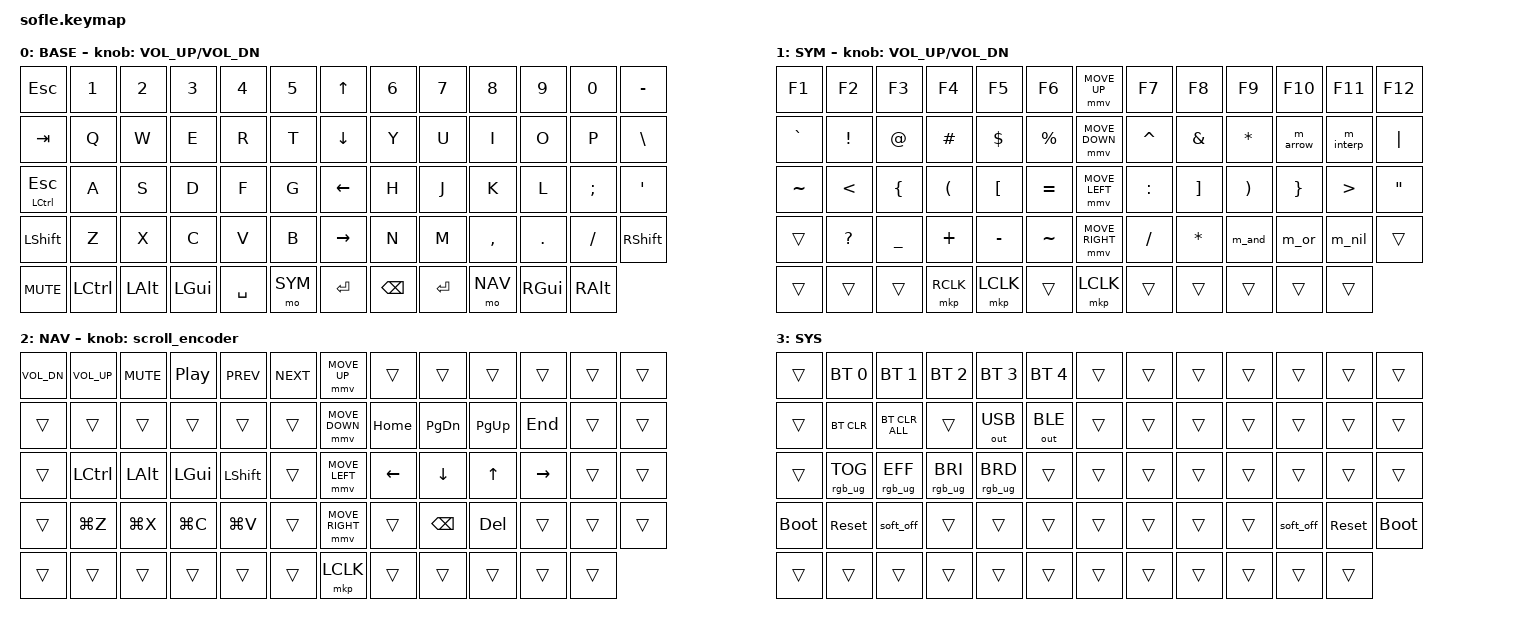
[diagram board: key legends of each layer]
#include <behaviors/mouse_keys.dtsi>
#include <dt-bindings/zmk/mouse.h>
#include <behaviors.dtsi>
#include <dt-bindings/zmk/bt.h>
#include <dt-bindings/zmk/keys.h>
#include <dt-bindings/zmk/outputs.h>
#include <dt-bindings/zmk/rgb.h>

// Layers
#define BASE 0
#define SYM  1
#define NAV  2
#define SYS  3

/ {
    behaviors {
        mmv {
            acceleration-exponent = <1>;
            time-to-max-speed-ms = <900>;
            delay-ms = <0>;
        };

        msc {
            acceleration-exponent = <1>;
            time-to-max-speed-ms = <400>;
            delay-ms = <0>;
        };

        // Tap = Esc, hold = Ctrl. "balanced" so a fast Esc-then-j roll in Vim
        // stays Esc + j instead of turning into Ctrl-j.
        ctl_esc: ctl_esc {
            compatible = "zmk,behavior-hold-tap";
            #binding-cells = <2>;
            flavor = "balanced";
            tapping-term-ms = <200>;
            quick-tap-ms = <150>;
            bindings = <&kp>, <&kp>;
        };
    };

    macros {
        m_arrow: m_arrow {           // ->
            compatible = "zmk,behavior-macro";
            #binding-cells = <0>;
            bindings = <&kp MINUS &kp GT>;
        };
        m_interp: m_interp {         // \(  Swift string interpolation
            compatible = "zmk,behavior-macro";
            #binding-cells = <0>;
            bindings = <&kp BSLH &kp LPAR>;
        };
        m_and: m_and {               // &&
            compatible = "zmk,behavior-macro";
            #binding-cells = <0>;
            bindings = <&kp AMPS &kp AMPS>;
        };
        m_or: m_or {                 // ||
            compatible = "zmk,behavior-macro";
            #binding-cells = <0>;
            bindings = <&kp PIPE &kp PIPE>;
        };
        m_nil: m_nil {               // ??
            compatible = "zmk,behavior-macro";
            #binding-cells = <0>;
            bindings = <&kp QMARK &kp QMARK>;
        };
    };

    scroll_encoder: scroll_encoder {
        compatible = "zmk,behavior-sensor-rotate";
        #sensor-binding-cells = <0>;
        bindings = <&msc SCRL_DOWN>, <&msc SCRL_UP>;
        tap-ms = <30>;
    };

    // Hold SYM + NAV together for the SYS layer
    conditional_layers {
        compatible = "zmk,conditional-layers";
        tri_layer {
            if-layers = <SYM NAV>;
            then-layer = <SYS>;
        };
    };

    // Each row: 6 left keys | joystick | 6 right keys.
    // Bottom row: knob press, 3 left keys, 2 left thumbs | joystick press | 2 right thumbs, 3 right keys.
    keymap {
        compatible = "zmk,keymap";

        base_layer {
            display-name = "BASE";
            bindings = <
&kp ESC              &kp N1    &kp N2    &kp N3    &kp N4     &kp N5     &kp UP      &kp N6     &kp N7     &kp N8     &kp N9    &kp N0    &kp MINUS
&kp TAB              &kp Q     &kp W     &kp E     &kp R      &kp T      &kp DOWN    &kp Y      &kp U      &kp I      &kp O     &kp P     &kp BSLH
&ctl_esc LCTRL ESC   &kp A     &kp S     &kp D     &kp F      &kp G      &kp LEFT    &kp H      &kp J      &kp K      &kp L     &kp SEMI  &kp APOS
&kp LSHFT            &kp Z     &kp X     &kp C     &kp V      &kp B      &kp RIGHT   &kp N      &kp M      &kp COMMA  &kp DOT   &kp FSLH  &kp RSHFT
&kp C_MUTE           &kp LCTRL &kp LALT  &kp LGUI  &kp SPACE  &mo SYM    &kp ENTER   &kp BSPC   &kp ENTER  &mo NAV    &kp RGUI  &kp RALT
            >;
            sensor-bindings = <&inc_dec_kp C_VOL_UP C_VOL_DN>;
        };

        sym_layer {
            display-name = "SYM";
            bindings = <
&kp F1     &kp F2     &kp F3     &kp F4     &kp F5     &kp F6     &mmv MOVE_UP     &kp F7     &kp F8     &kp F9     &kp F10      &kp F11    &kp F12
&kp GRAVE  &kp EXCL   &kp AT     &kp HASH   &kp DLLR   &kp PRCNT  &mmv MOVE_DOWN   &kp CARET  &kp AMPS   &kp STAR   &m_arrow     &m_interp  &kp PIPE
&kp TILDE  &kp LT     &kp LBRC   &kp LPAR   &kp LBKT   &kp EQUAL  &mmv MOVE_LEFT   &kp COLON  &kp RBKT   &kp RPAR   &kp RBRC     &kp GT     &kp DQT
&trans     &kp QMARK  &kp UNDER  &kp PLUS   &kp MINUS  &kp TILDE  &mmv MOVE_RIGHT  &kp FSLH   &kp STAR   &m_and     &m_or        &m_nil     &trans
&trans     &trans     &trans     &mkp RCLK  &mkp LCLK  &trans     &mkp LCLK        &trans     &trans     &trans     &trans       &trans
            >;
            sensor-bindings = <&inc_dec_kp C_VOL_UP C_VOL_DN>;
        };

        nav_layer {
            display-name = "NAV";
            bindings = <
&kp C_VOL_DN  &kp C_VOL_UP  &kp C_MUTE  &kp C_PP    &kp C_PREV  &kp C_NEXT  &mmv MOVE_UP     &trans     &trans     &trans     &trans     &trans  &trans
&trans        &trans        &trans      &trans      &trans      &trans      &mmv MOVE_DOWN   &kp HOME   &kp PG_DN  &kp PG_UP  &kp END    &trans  &trans
&trans        &kp LCTRL     &kp LALT    &kp LGUI    &kp LSHFT   &trans      &mmv MOVE_LEFT   &kp LEFT   &kp DOWN   &kp UP     &kp RIGHT  &trans  &trans
&trans        &kp LG(Z)     &kp LG(X)   &kp LG(C)   &kp LG(V)   &trans      &mmv MOVE_RIGHT  &trans     &kp BSPC   &kp DEL    &trans     &trans  &trans
&trans        &trans        &trans      &trans      &trans      &trans      &mkp LCLK        &trans     &trans     &trans     &trans     &trans
            >;
            sensor-bindings = <&scroll_encoder>;
        };

        sys_layer {
            display-name = "SYS";
            bindings = <
&trans       &bt BT_SEL 0     &bt BT_SEL 1     &bt BT_SEL 2     &bt BT_SEL 3     &bt BT_SEL 4   &trans   &trans  &trans  &trans  &trans      &trans      &trans
&trans       &bt BT_CLR       &bt BT_CLR_ALL   &trans           &out OUT_USB     &out OUT_BLE   &trans   &trans  &trans  &trans  &trans      &trans      &trans
&trans       &rgb_ug RGB_TOG  &rgb_ug RGB_EFF  &rgb_ug RGB_BRI  &rgb_ug RGB_BRD  &trans         &trans   &trans  &trans  &trans  &trans      &trans      &trans
&bootloader  &sys_reset       &soft_off        &trans           &trans           &trans         &trans   &trans  &trans  &trans  &soft_off   &sys_reset  &bootloader
&trans       &trans           &trans           &trans           &trans           &trans         &trans   &trans  &trans  &trans  &trans      &trans
            >;
        };
    };
};
